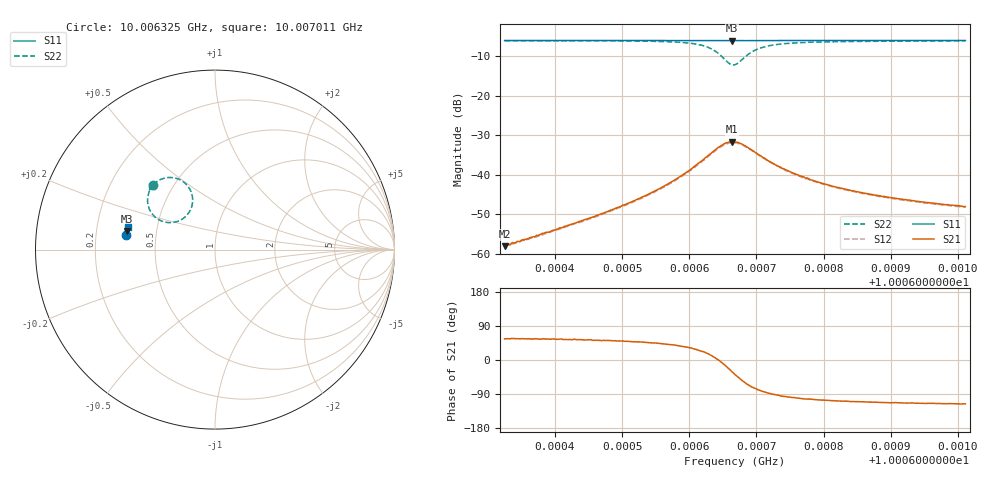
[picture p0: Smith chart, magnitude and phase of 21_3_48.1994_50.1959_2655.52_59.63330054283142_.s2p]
#  HZ  S  RI  R  50.00
! Rohde & Schwarz Vector Network Analyzer
! Rohde-Schwarz,ZNB20-2Port,1311601062101988,3.16
! Created: UTC 3/20/2024, 11:36:58 AM
! freq[Hz]  re:S11  im:S11  re:S21  im:S21  re:S12  im:S12  re:S22  im:S22
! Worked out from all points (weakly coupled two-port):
!   401 points, 10.006325 GHz to 10.007011 GHz, reference 50 ohm
!   highest |S21| = -31.56 dB at 10.006663 GHz (marker M1); lowest = -58.0 dB at 10.006325 GHz (marker M2)
!   lowest |S11| = -6.0 dB at 10.006663 GHz (marker M3), VSWR 3.00, Z = 16.8 + j4.67 ohm
!   |S11| at or under -10 dB: nowhere
!   |S22| runs from -12.2 to -6.0 dB; largest |S21 - S12| = 0.0019
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1.00063252e10  -0.4954 0.0833  0.000706 0.00104  0.000641 0.00108  -0.3457 0.3614
1.00063715e10  -0.4948 0.0862  0.00094 0.0014  0.000866 0.00139  -0.3406 0.3661
1.00064401e10  -0.4941 0.0907  0.00157 0.00214  0.00143 0.00213  -0.33 0.3748
1.00065104e10  -0.4932 0.0955  0.0029 0.00335  0.00271 0.00339  -0.3115 0.3864
1.0006555e10  -0.4927 0.0985  0.00479 0.00461  0.00449 0.00469  -0.2886 0.396
1.00065893e10  -0.4921 0.1009  0.00802 0.00582  0.00749 0.00602  -0.2546 0.4017
1.00066099e10  -0.4914 0.1025  0.0117 0.00631  0.011 0.00663  -0.2188 0.3976
1.00066236e10  -0.4908 0.1032  0.0154 0.00569  0.0146 0.00606  -0.1851 0.3834
1.00066356e10  -0.4904 0.1039  0.0195 0.00315  0.0188 0.00409  -0.1509 0.353
1.00066476e10  -0.4897 0.1041  0.0235 -0.0021  0.0228 -0.000965  -0.126 0.2953
1.00066562e10  -0.4892 0.1041  0.0243 -0.0081  0.0239 -0.00623  -0.1298 0.2395
1.00066631e10  -0.4891 0.104  0.023 -0.0131  0.0229 -0.0112  -0.1529 0.1963
1.00066682e10  -0.4894 0.1041  0.0206 -0.0163  0.021 -0.0145  -0.1805 0.1711
1.00066751e10  -0.4897 0.1041  0.0167 -0.019  0.0174 -0.0176  -0.2236 0.153
1.00066836e10  -0.49 0.1042  0.0115 -0.0203  0.0125 -0.0191  -0.2749 0.1525
1.00066956e10  -0.4903 0.105  0.0059 -0.0192  0.00673 -0.0186  -0.3255 0.1751
1.00067094e10  -0.4906 0.1061  0.00204 -0.0165  0.00308 -0.0162  -0.3559 0.2077
1.00067419e10  -0.4908 0.1086  -0.00128 -0.0117  -0.000609 -0.0116  -0.3754 0.2637
1.00067831e10  -0.4905 0.1116  -0.00209 -0.00834  -0.00165 -0.00835  -0.3736 0.2998
1.0006838e10  -0.4897 0.1152  -0.00214 -0.00609  -0.00178 -0.00607  -0.3665 0.3238
1.0006898e10  -0.489 0.1191  -0.00201 -0.00477  -0.00175 -0.00478  -0.3593 0.3383
1.00070112e10  -0.4874 0.1265  -0.00171 -0.00359  -0.00154 -0.00358  -0.349 0.3544
